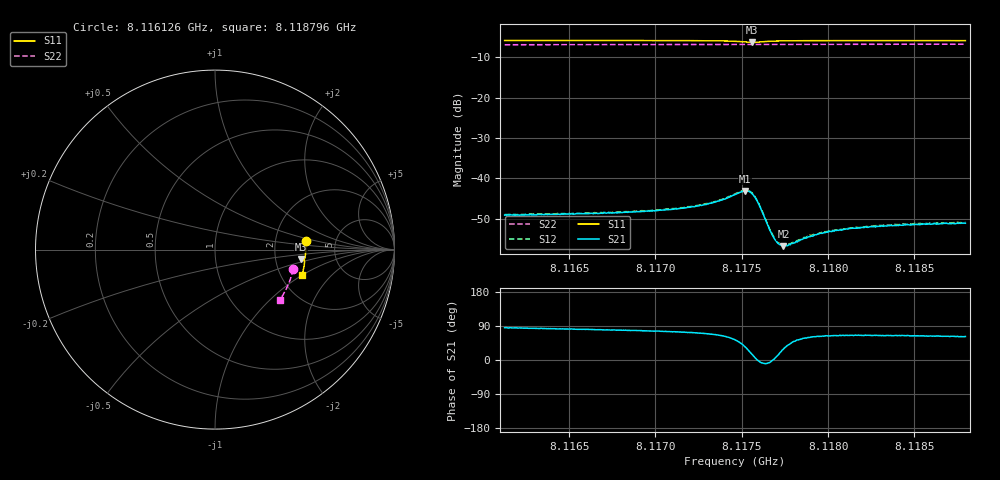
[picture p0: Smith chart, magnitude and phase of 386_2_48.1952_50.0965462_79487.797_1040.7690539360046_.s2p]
#  HZ  S  RI  R  50.00
! Rohde & Schwarz Vector Network Analyzer
! Rohde-Schwarz,ZNB20-2Port,1311601062101988,3.16
! Created: UTC 3/20/2024, 11:53:19 AM
! freq[Hz]  re:S11  im:S11  re:S21  im:S21  re:S12  im:S12  re:S22  im:S22
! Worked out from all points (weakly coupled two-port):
!   401 points, 8.116126 GHz to 8.118796 GHz, reference 50 ohm
!   highest |S21| = -43.09 dB at 8.117521 GHz (marker M1); lowest = -56.7 dB at 8.117741 GHz (marker M2)
!   lowest |S11| = -6.4 dB at 8.117561 GHz (marker M3), VSWR 2.85, Z = 139 - j18.9 ohm
!   |S11| at or under -10 dB: nowhere
!   |S22| runs from -7.0 to -6.8 dB; largest |S21 - S12| = 0.0002
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8.1161265e9  0.5047 0.0488  0.000299 0.00351  0.000371 0.00356  0.4352 -0.1097
8.1165736e9  0.5064 0.0151  0.000579 0.00362  0.000624 0.00369  0.4279 -0.1397
8.1170206e9  0.5053 -0.0195  0.00097 0.00393  0.00102 0.00395  0.4184 -0.1695
8.1171674e9  0.5039 -0.0316  0.00122 0.00415  0.00129 0.00418  0.4147 -0.1792
8.1172809e9  0.502 -0.0415  0.0016 0.00443  0.0017 0.0045  0.4118 -0.1866
8.1173809e9  0.4986 -0.0515  0.00232 0.00485  0.00239 0.0049  0.4088 -0.1931
8.117461e9  0.4917 -0.0592  0.00377 0.00507  0.00391 0.00513  0.4064 -0.1982
8.1175211e9  0.4813 -0.0598  0.00581 0.00392  0.00592 0.00395  0.4043 -0.2018
8.1175411e9  0.4782 -0.0567  0.00632 0.00283  0.00642 0.00282  0.4036 -0.2028
8.1175611e9  0.4773 -0.0521  0.00625 0.00155  0.00643 0.00146  0.4031 -0.2038
8.1175811e9  0.4791 -0.0479  0.00563 0.000378  0.00574 0.000307  0.4028 -0.2049
8.1175945e9  0.4815 -0.0461  0.00501 -0.000137  0.00512 -0.000177  0.4026 -0.2056
8.1176612e9  0.4931 -0.0486  0.00231 -0.000284  0.00236 -0.000296  0.401 -0.2098
8.1176879e9  0.4956 -0.0518  0.00182 7.3e-05  0.00187 5.22e-05  0.4005 -0.2116
8.1177146e9  0.497 -0.0549  0.0015 0.000393  0.00155 0.000412  0.3997 -0.2135
8.1177413e9  0.4981 -0.0581  0.00128 0.000694  0.00134 0.00069  0.3986 -0.2151
8.1177746e9  0.4986 -0.0618  0.00115 0.000999  0.00117 0.00103  0.3979 -0.2174
8.1179081e9  0.4986 -0.0746  0.000934 0.00169  0.000956 0.00175  0.3936 -0.2259
8.1180015e9  0.4979 -0.0827  0.000962 0.00195  0.00096 0.00201  0.3907 -0.2316
8.1181216e9  0.4961 -0.0924  0.00102 0.00217  0.00102 0.0022  0.3864 -0.239
8.1183551e9  0.4926 -0.1102  0.00112 0.00234  0.00116 0.00239  0.3782 -0.2531
8.1187955e9  0.4841 -0.1425  0.00131 0.00246  0.00138 0.0025  0.3611 -0.2789
